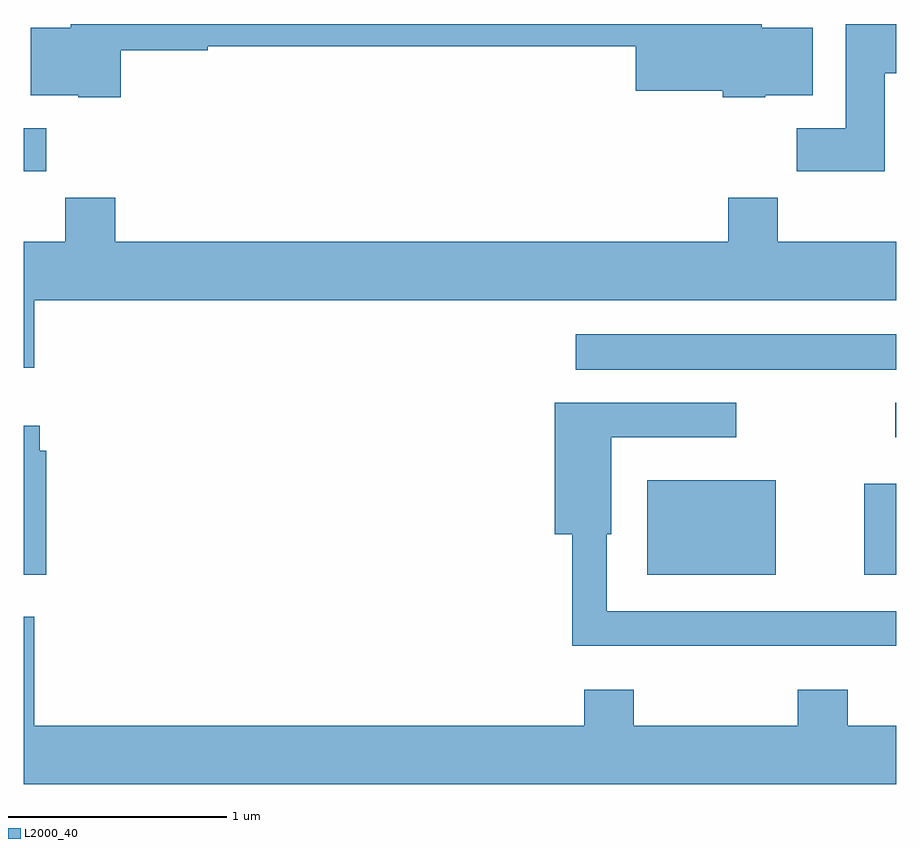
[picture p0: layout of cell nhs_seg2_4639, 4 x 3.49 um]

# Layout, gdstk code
import gdstk
lib = gdstk.Library(unit=1e-6, precision=1e-09)
def R(c, l, rs):  # rectangles x0, y0, x1, y1
    for r in rs: c.add(gdstk.rectangle(r[:2], r[2:], *l))
def P(c, l, *ps):  # polygons
    for p in ps: c.add(gdstk.Polygon(p, *l))
L2000_40 = (2000, 40)

nhs_seg2_4639 = lib.new_cell('nhs_seg2_4639')
R(nhs_seg2_4639, L2000_40, [(324.471,1049.276,325.059,1049.709), (325.466,1049.276,325.611,1049.694), (325.608,1049.906,325.611,1050.064), (324.143,1050.216,325.611,1050.379), (321.611,1051.126,321.714,1051.324)])
P(nhs_seg2_4639, L2000_40, [(322.054,1051.681),(322.454,1051.681),(322.454,1051.701),(324.416,1051.701),(324.416,1051.496),(324.816,1051.496),(324.816,1051.466),(325.01,1051.466),(325.01,1051.476),(325.229,1051.476),(325.229,1051.784),(324.994,1051.784),(324.994,1051.802),(321.826,1051.802),(321.826,1051.784),(321.641,1051.784),(321.641,1051.476),(321.86,1051.476),(321.86,1051.466),(322.054,1051.466)],
  [(325.559,1051.576),(325.611,1051.576),(325.611,1051.802),(325.381,1051.802),(325.381,1051.324),(325.156,1051.324),(325.156,1051.126),(325.559,1051.126)],
  [(321.659,1050.536),(325.611,1050.536),(325.611,1050.804),(325.069,1050.804),(325.069,1051.004),(324.841,1051.004),(324.841,1050.804),(322.029,1050.804),(322.029,1051.004),(321.801,1051.004),(321.801,1050.804),(321.611,1050.804),(321.611,1050.226),(321.659,1050.226)],
  [(325.611,1049.109),(324.284,1049.109),(324.284,1049.461),(324.304,1049.461),(324.304,1049.906),(324.878,1049.906),(324.878,1050.064),(324.046,1050.064),(324.046,1049.461),(324.126,1049.461),(324.126,1048.951),(325.611,1048.951)],
  [(321.714,1049.844),(321.684,1049.844),(321.684,1049.959),(321.611,1049.959),(321.611,1049.276),(321.714,1049.276)],
  [(325.611,1048.584),(325.389,1048.584),(325.389,1048.749),(325.161,1048.749),(325.161,1048.584),(324.409,1048.584),(324.409,1048.749),(324.181,1048.749),(324.181,1048.584),(321.659,1048.584),(321.659,1049.084),(321.611,1049.084),(321.611,1048.316),(325.611,1048.316)])

lib.write_gds('nhs_seg2_4639.gds')
